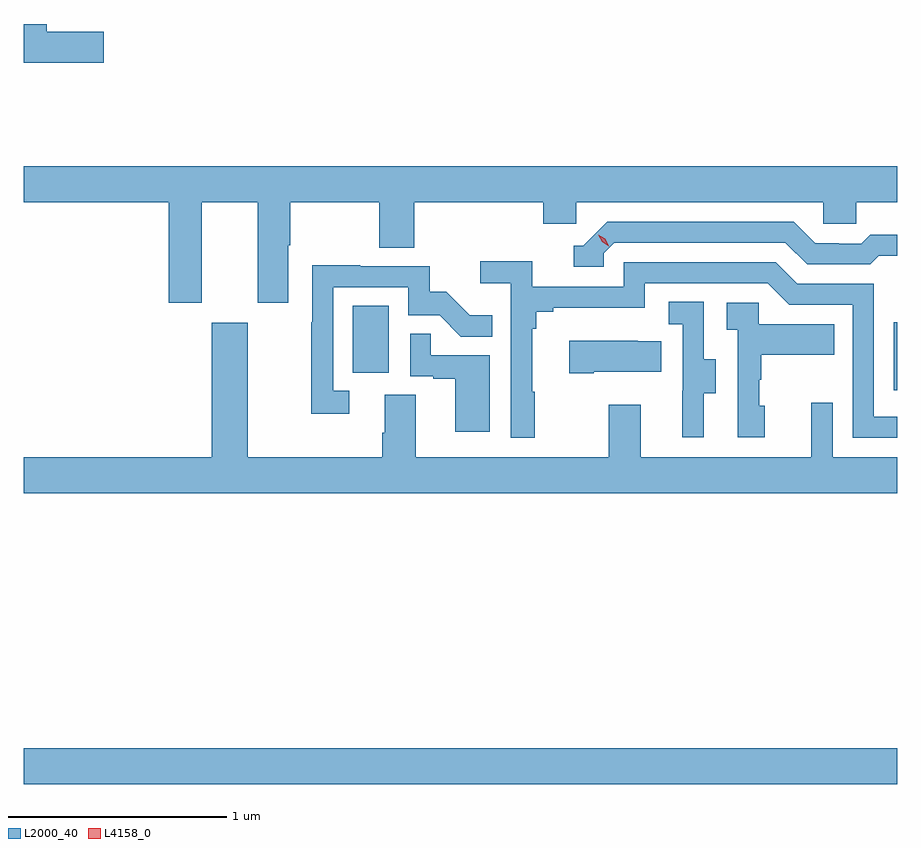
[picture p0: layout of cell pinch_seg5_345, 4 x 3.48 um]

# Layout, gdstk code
import gdstk
lib = gdstk.Library(unit=1e-6, precision=1e-09)
def R(c, l, rs):  # rectangles x0, y0, x1, y1
    for r in rs: c.add(gdstk.rectangle(r[:2], r[2:], *l))
def P(c, l, *ps):  # polygons
    for p in ps: c.add(gdstk.Polygon(p, *l))
L2000_40 = (2000, 40)
L4158_0 = (4158, 0)

pinch_seg5_345 = lib.new_cell('pinch_seg5_345')
R(pinch_seg5_345, L2000_40, [(951.025,884.732,955.025,884.896), (955.008,886.536,955.025,886.846), (952.532,886.614,952.696,886.921)])
P(pinch_seg5_345, L2000_40, [(951.391,888.176),(951.13,888.176),(951.13,888.212),(951.025,888.212),(951.025,888.034),(951.391,888.034)],
  [(951.841,887.396),(952.097,887.396),(952.097,886.935),(952.237,886.935),(952.237,887.2),(952.245,887.2),(952.245,887.396),(952.654,887.396),(952.654,887.188),(952.814,887.188),(952.814,887.396),(953.405,887.396),(953.405,887.298),(953.556,887.298),(953.556,887.396),(954.687,887.396),(954.687,887.298),(954.837,887.298),(954.837,887.396),(955.025,887.396),(955.025,887.56),(951.025,887.56),(951.025,887.396),(951.689,887.396),(951.689,886.935),(951.841,886.935)],
  [(953.682,887.163),(953.73,887.211),(954.513,887.211),(954.612,887.112),(954.901,887.112),(954.94,887.151),(955.025,887.151),(955.025,887.248),(954.901,887.248),(954.859,887.205),(954.756,887.205),(954.756,887.208),(954.649,887.208),(954.55,887.307),(953.697,887.307),(953.586,887.196),(953.543,887.196),(953.543,887.1),(953.682,887.1)],
  [(953.365,886.529),(953.353,886.529),(953.353,886.817),(953.372,886.817),(953.372,886.894),(953.449,886.894),(953.449,886.913),(953.868,886.913),(953.868,887.025),(954.432,887.025),(954.531,886.926),(954.822,886.926),(954.822,886.317),(955.025,886.317),(955.025,886.413),(954.918,886.413),(954.918,887.022),(954.568,887.022),(954.469,887.121),(953.772,887.121),(953.772,887.01),(953.354,887.01),(953.354,887.126),(953.115,887.126),(953.115,887.024),(953.256,887.024),(953.256,886.317),(953.365,886.317)],
  [(952.516,886.533),(952.443,886.533),(952.443,887.007),(952.785,887.007),(952.785,886.878),(952.929,886.878),(953.027,886.78),(953.171,886.78),(953.171,886.879),(953.067,886.879),(952.96,886.986),(952.884,886.986),(952.884,887.103),(952.565,887.103),(952.565,887.108),(952.347,887.108),(952.347,886.847),(952.342,886.847),(952.342,886.428),(952.516,886.428)],
  [(954.139,886.522),(954.193,886.522),(954.193,886.677),(954.138,886.677),(954.138,886.94),(953.979,886.94),(953.979,886.837),(954.042,886.837),(954.042,886.533),(954.041,886.533),(954.041,886.32),(954.139,886.32)],
  [(954.418,886.464),(954.393,886.464),(954.393,886.583),(954.403,886.583),(954.403,886.697),(954.737,886.697),(954.737,886.837),(954.39,886.837),(954.39,886.935),(954.243,886.935),(954.243,886.811),(954.294,886.811),(954.294,886.32),(954.418,886.32)],
  [(955.025,886.228),(954.729,886.228),(954.729,886.477),(954.632,886.477),(954.632,886.228),(953.851,886.228),(953.851,886.468),(953.704,886.468),(953.704,886.228),(952.819,886.228),(952.819,886.514),(952.679,886.514),(952.679,886.34),(952.667,886.34),(952.667,886.228),(952.051,886.228),(952.051,886.843),(951.887,886.843),(951.887,886.228),(951.025,886.228),(951.025,886.064),(955.025,886.064)],
  [(953.158,886.695),(952.889,886.695),(952.889,886.793),(952.794,886.793),(952.794,886.599),(952.901,886.599),(952.901,886.587),(953,886.587),(953,886.344),(953.158,886.344)],
  [(953.635,886.619),(953.945,886.619),(953.945,886.759),(953.837,886.759),(953.837,886.762),(953.523,886.762),(953.523,886.612),(953.635,886.612)])
P(pinch_seg5_345, L4158_0, [(953.704,887.195),(953.673,887.214),(953.656,887.247),(953.656,887.247),(953.656,887.247),(953.688,887.228),(953.704,887.195),(953.704,887.195)])

lib.write_gds('pinch_seg5_345.gds')
